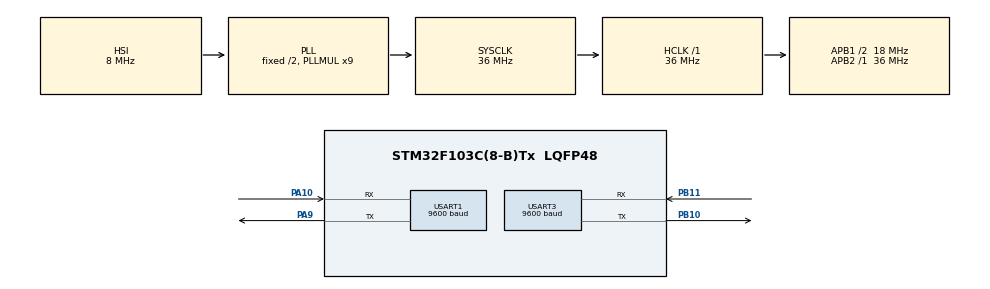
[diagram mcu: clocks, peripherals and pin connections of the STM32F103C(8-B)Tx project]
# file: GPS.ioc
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Mcu.Family=STM32F1
Mcu.Name=STM32F103C(8-B)Tx
Mcu.Package=LQFP48
NVIC.PriorityGroup=NVIC_PRIORITYGROUP_4
NVIC.USART3_IRQn=true\:0\:0\:false\:false\:true\:true\:true\:true
PA10.Mode=Asynchronous
PA10.Signal=USART1_RX
PA13.Mode=Serial_Wire
PA13.Signal=SYS_JTMS-SWDIO
PA14.Mode=Serial_Wire
PA14.Signal=SYS_JTCK-SWCLK
PA9.Mode=Asynchronous
PA9.Signal=USART1_TX
PB10.Mode=Asynchronous
PB10.Signal=USART3_TX
PB11.Mode=Asynchronous
PB11.Signal=USART3_RX
PD0-OSC_IN.Mode=HSE-External-Oscillator
PD0-OSC_IN.Signal=RCC_OSC_IN
PD1-OSC_OUT.Mode=HSE-External-Oscillator
PD1-OSC_OUT.Signal=RCC_OSC_OUT
ProjectManager.HeapSize=0x200
ProjectManager.StackSize=0x400
ProjectManager.TargetToolchain=STM32CubeIDE
RCC.AHBFreq_Value=36000000
RCC.APB1CLKDivider=RCC_HCLK_DIV2
RCC.APB1Freq_Value=18000000
RCC.APB1TimFreq_Value=36000000
RCC.APB2Freq_Value=36000000
RCC.APB2TimFreq_Value=36000000
RCC.HCLKFreq_Value=36000000
RCC.PLLMUL=RCC_PLL_MUL9
RCC.SYSCLKFreq_VALUE=36000000
RCC.SYSCLKSource=RCC_SYSCLKSOURCE_PLLCLK
RCC.USBFreq_Value=36000000
USART1.BaudRate=9600
USART1.VirtualMode=VM_ASYNC
USART3.BaudRate=9600
USART3.VirtualMode=VM_ASYNC
board=custom

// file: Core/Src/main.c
/* USER CODE BEGIN Header */
/**
  ******************************************************************************
  * @file           : main.c
  * @brief          : Main program body
  ******************************************************************************
  * @attention
  *
  * Copyright (c) 2024 STMicroelectronics.
  * All rights reserved.
  *
  * This software is licensed under terms that can be found in the LICENSE file
  * in the root directory of this software component.
  * If no LICENSE file comes with this software, it is provided AS-IS.
  *
  ******************************************************************************
  */
/* USER CODE END Header */
#include "main.h"

/* USER CODE BEGIN Includes */
#include "NMEA.h"
#include "uartRingBuffer.h"
#include "uart.h"
#include "stdio.h"
#include "string.h"
/* USER CODE END Includes */

UART_HandleTypeDef huart1;
UART_HandleTypeDef huart3;

void SystemClock_Config(void);
static void MX_GPIO_Init(void);
static void MX_USART1_UART_Init(void);
static void MX_USART3_UART_Init(void);

/* USER CODE BEGIN 0 */

char GGA[100];
char RMC[100];

GPSSTRUCT gpsData;

int flagGGA = 0, flagRMC = 0;
char lcdBuffer [50];

int VCCTimeout = 5000;
/* USER CODE END 0 */

int main(void)
{

  /* MCU Configuration--------------------------------------------------------*/

  /* Reset of all peripherals, Initializes the Flash interface and the Systick. */
  HAL_Init();

  /* Configure the system clock */
  SystemClock_Config();

  /* USER CODE BEGIN SysInit */
  char tx_buffer[] = "No Function";
  /* USER CODE END SysInit */

  /* Initialize all configured peripherals */
  MX_GPIO_Init();
  MX_USART1_UART_Init();
  MX_USART3_UART_Init();
  /* USER CODE BEGIN 2 */

  Ringbuf_init();
  HAL_Delay(500);
  uartx_write_text(&huart1, "Hello GPS...\r\n");
  HAL_Delay(500);

  /* USER CODE END 2 */

  /* Infinite loop */
  while (1)
  {
	  /* USER CODE END WHILE */
	 	  uartx_write_text(&huart1, "Hello GPS1...\r\n");
	 /*
	 	  if (Wait_for("GGA") == 1)
	 	 	  {

	 	 		  VCCTimeout = 5000;  // Reset the VCC Timeout indicating the GGA is being received

	 	 		  Copy_upto("*", GGA);
	 	 		  if (decodeGGA(GGA, &gpsData.ggastruct) == 0) flagGGA = 2;  // 2 indicates the data is valid
	 	 		  else flagGGA = 1;  // 1 indicates the data is invalid
	 	 	  }

	 	 	  if (Wait_for("RMC") == 1)
	 	 	  {

	 	 		  VCCTimeout = 5000;  // Reset the VCC Timeout indicating the RMC is being received

	 	 		  Copy_upto("*", RMC);
	 	 		  if (decodeRMC(RMC, &gpsData.rmcstruct) == 0) flagRMC = 2;  // 2 indicates the data is valid
	 	 		  else flagRMC = 1;  // 1 indicates the data is invalid
	 	 	  }

	 	 	  if((flagGGA == 2 ) | (flagRMC == 2 )){
	 			  sprintf (lcdBuffer, "%02d:%02d:%02d, %02d%02d%02d", gpsData.ggastruct.tim.hour, \
	 			gpsData.ggastruct.tim.min, gpsData.ggastruct.tim.sec, gpsData.rmcstruct.date.Day, \

	 				gpsData.rmcstruct.date.Mon, gpsData.rmcstruct.date.Yr);
	 	 			  //lcd_send_string(lcdBuffer);
	 	 			  //memset(lcdBuffer, '\0', 50);
	 	 			 // lcd_put_cur(1, 0);
	 			  uartx_write_text(&huart1, lcdBuffer);
	 			  sprintf (lcdBuffer, "%.2f%c, %.2f%c  ", gpsData.ggastruct.lcation.latitude, gpsData.ggastruct.lcation.NS,\
	 	 					  gpsData.ggastruct.lcation.longitude, gpsData.ggastruct.lcation.EW);
	 	 			  //lcd_send_string(lcdBuffer);
	 			  uartx_write_text(&huart1, lcdBuffer);
	 	 		  }

	 	 		  else if ((flagGGA == 1) | (flagRMC == 1))
	 	 		  {
	 	 			  // Instead of clearing the display, it's better if we print spaces.
	 	 			  // This will avoid the "refreshing" part
	 				  uartx_write_text(&huart1, "   NO FIX YET   ");

	 				  uartx_write_text(&huart1, "   Please wait  ");

	 	 		  }

	 	 		  if (VCCTimeout <= 0)
	 	 		  {
	 	 			  VCCTimeout = 5000;  // Reset the timeout

	 	 			  //reset flags
	 	 			  flagGGA =flagRMC =0;

	 	 			  // You are here means the VCC is less, or maybe there is some connection issue
	 	 			  // Check the VCC, also you can try connecting to the external 5V

	 				  uartx_write_text(&huart1, "    VCC Issue   ");

	 				  uartx_write_text(&huart1, "Check Connection");

	 	 		  }
	 */

	 	 		  HAL_Delay(1000);

	 	 		 HAL_UART_Transmit(&huart1, (uint8_t *)tx_buffer, strlen(tx_buffer), 1000);
	 	 		  HAL_Delay(1000);

  }
}

void SystemClock_Config(void)
{
  RCC_OscInitTypeDef RCC_OscInitStruct = {0};
  RCC_ClkInitTypeDef RCC_ClkInitStruct = {0};

  /** Initializes the RCC Oscillators according to the specified parameters
  * in the RCC_OscInitTypeDef structure.
  */
  RCC_OscInitStruct.OscillatorType = RCC_OSCILLATORTYPE_HSI;
  RCC_OscInitStruct.HSIState = RCC_HSI_ON;
  RCC_OscInitStruct.HSICalibrationValue = RCC_HSICALIBRATION_DEFAULT;
  RCC_OscInitStruct.PLL.PLLState = RCC_PLL_ON;
  RCC_OscInitStruct.PLL.PLLSource = RCC_PLLSOURCE_HSI_DIV2;
  RCC_OscInitStruct.PLL.PLLMUL = RCC_PLL_MUL9;
  if (HAL_RCC_OscConfig(&RCC_OscInitStruct) != HAL_OK)
  {
    Error_Handler();
  }

  /** Initializes the CPU, AHB and APB buses clocks
  */
  RCC_ClkInitStruct.ClockType = RCC_CLOCKTYPE_HCLK|RCC_CLOCKTYPE_SYSCLK
                              |RCC_CLOCKTYPE_PCLK1|RCC_CLOCKTYPE_PCLK2;
  RCC_ClkInitStruct.SYSCLKSource = RCC_SYSCLKSOURCE_PLLCLK;
  RCC_ClkInitStruct.AHBCLKDivider = RCC_SYSCLK_DIV1;
  RCC_ClkInitStruct.APB1CLKDivider = RCC_HCLK_DIV2;
  RCC_ClkInitStruct.APB2CLKDivider = RCC_HCLK_DIV1;

  if (HAL_RCC_ClockConfig(&RCC_ClkInitStruct, FLASH_LATENCY_1) != HAL_OK)
  {
    Error_Handler();
  }
}

static void MX_USART1_UART_Init(void)
{

  huart1.Instance = USART1;
  huart1.Init.BaudRate = 9600;
  huart1.Init.WordLength = UART_WORDLENGTH_8B;
  huart1.Init.StopBits = UART_STOPBITS_1;
  huart1.Init.Parity = UART_PARITY_NONE;
  huart1.Init.Mode = UART_MODE_TX_RX;
  huart1.Init.HwFlowCtl = UART_HWCONTROL_NONE;
  huart1.Init.OverSampling = UART_OVERSAMPLING_16;
  if (HAL_UART_Init(&huart1) != HAL_OK)
  {
    Error_Handler();
  }

}

static void MX_USART3_UART_Init(void)
{

  huart3.Instance = USART3;
  huart3.Init.BaudRate = 9600;
  huart3.Init.WordLength = UART_WORDLENGTH_8B;
  huart3.Init.StopBits = UART_STOPBITS_1;
  huart3.Init.Parity = UART_PARITY_NONE;
  huart3.Init.Mode = UART_MODE_TX_RX;
  huart3.Init.HwFlowCtl = UART_HWCONTROL_NONE;
  huart3.Init.OverSampling = UART_OVERSAMPLING_16;
  if (HAL_UART_Init(&huart3) != HAL_OK)
  {
    Error_Handler();
  }

}

static void MX_GPIO_Init(void)
{

  /* GPIO Ports Clock Enable */
  __HAL_RCC_GPIOD_CLK_ENABLE();
  __HAL_RCC_GPIOB_CLK_ENABLE();
  __HAL_RCC_GPIOA_CLK_ENABLE();

}

void Error_Handler(void)
{
  __disable_irq();
  while (1)
  {
  }
}
